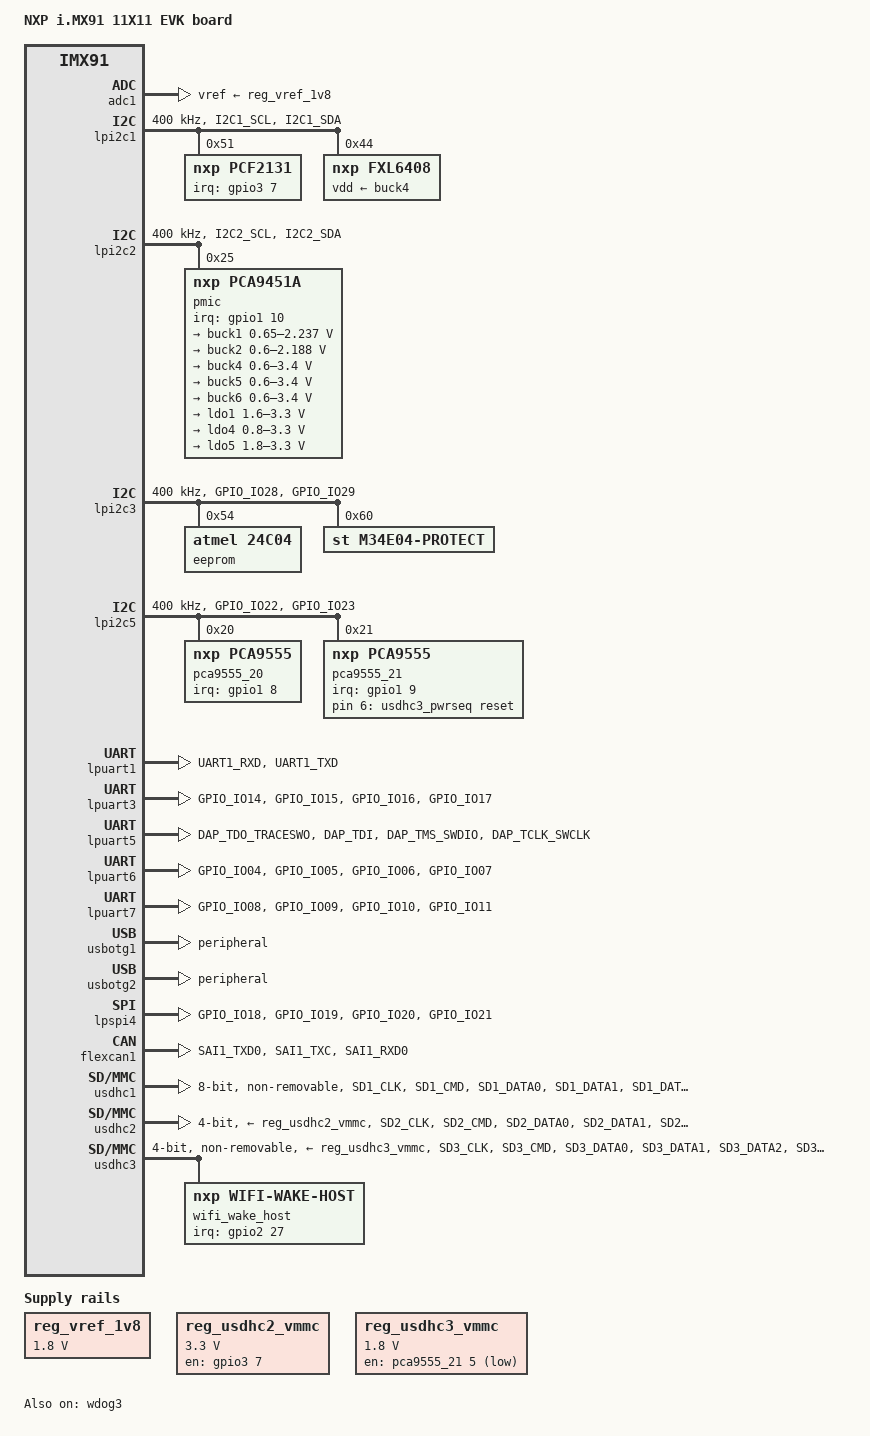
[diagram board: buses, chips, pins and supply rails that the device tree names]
// SPDX-License-Identifier: (GPL-2.0+ OR MIT)
/*
 * Device Tree for the Viridi i.MX93 Board
 *
 * @TYPE: Board Device Tree
 * @NAME: viridi-imx91
 * @SOC: NXP i.MX91
 * @DESCRIPTION:
 *   Board-specific device tree describing the hardware configuration
 *   of the Viridi i.MX91 platform. This file defines SoC integration,
 *   pin multiplexing, peripheral enablement, and board-level resources.
 *
 */

/dts-v1/;

#include <dt-bindings/usb/pd.h>
#include "imx91.dtsi"

/ {
	compatible = "fsl,imx91-11x11-evk", "fsl,imx91";
	model = "NXP i.MX91 11X11 EVK board";

	aliases {
		rtc0 = &bbnsm_rtc;
	};

	chosen {
		stdout-path = &lpuart1;
	};

	reg_vref_1v8: regulator-adc-vref {
		compatible = "regulator-fixed";
		regulator-max-microvolt = <1800000>;
		regulator-min-microvolt = <1800000>;
		regulator-name = "vref_1v8";
	};

	reg_usdhc2_vmmc: regulator-usdhc2 {
		compatible = "regulator-fixed";
		off-on-delay-us = <12000>;
		pinctrl-0 = <&pinctrl_reg_usdhc2_vmmc>;
		pinctrl-names = "default";
		regulator-max-microvolt = <3300000>;
		regulator-min-microvolt = <3300000>;
		regulator-name = "VSD_3V3";
		gpio = <&gpio3 7 GPIO_ACTIVE_HIGH>;
		enable-active-high;
	};

	reg_usdhc3_vmmc: regulator-usdhc3 {
		compatible = "regulator-fixed";
		regulator-max-microvolt = <1800000>;	
		regulator-min-microvolt = <1800000>;
		regulator-name = "WLAN_EN";
		/*gpio = <&gpio2 13 GPIO_ACTIVE_LOW>;			CPU(GPIO2_13) = WF_nPD_1V8*/
		gpio = <&pca9555_21 5 GPIO_ACTIVE_LOW>;
		regulator-boot-on;
		regulator-always-on;
		startup-delay-us = <20000>;
	};

	usdhc3_pwrseq: usdhc3_pwrseq {
		compatible = "mmc-pwrseq-simple";
		reset-gpios = <&pca9555_21 6 GPIO_ACTIVE_HIGH>;
		post-power-on-delay-ms = <200>;
	};

	reserved-memory {
		ranges;
		#address-cells = <2>;
		#size-cells = <2>;

		linux,cma {
			compatible = "shared-dma-pool";
			alloc-ranges = <0 0x80000000 0 0x40000000>;
			reusable;
			size = <0 0x10000000>;
			linux,cma-default;
		};
	};
};

&adc1 {
	vref-supply = <&reg_vref_1v8>;
	status = "okay";
};

&eqos {
	status = "disabled";
};

&fec {
	status = "disabled";
};

&lpi2c1 {
	clock-frequency = <400000>;
	pinctrl-0 = <&pinctrl_lpi2c1>;
	pinctrl-names = "default";
	status = "okay";

	/*RTC --> PCF2131TFY*/
	pcf2131: pcf2131@51 {
		compatible = "nxp,pcf2131";
		reg = <0x51>;
		status = "okay";
		interrupt-parent = <&gpio3>;
		interrupts = <7 IRQ_TYPE_EDGE_FALLING>;
	};

	/*Io Expander --> FXL6408UMX*/
	fxl6408: io-expander@44 {
		compatible = "nxp,fxl6408";
		reg = <0x44>;
		vdd-supply = <&buck4>;
		#gpio-cells = <2>;
		gpio-controller;
		ngpios = <8>;
		gpio-reserved-ranges = <5 1>;
		#pwm-cells = <3>;
		gpio-line-names = "LED1_nEN", "LED2_nEN", "LED3_nEN", "LED4_nEN",
			"CAN1_EOL", "DSP_CTRL_3V3", "NC", "NC";
	};
};

&lpi2c2 {
	#address-cells = <1>;
	#size-cells = <0>;
	clock-frequency = <400000>;
	pinctrl-0 = <&pinctrl_lpi2c2>;
	pinctrl-names = "default";
	status = "okay";

	/*PMIC --> PCA9451AHNY*/
	pmic@25 {
		compatible = "nxp,pca9451a";
		reg = <0x25>;
		pinctrl-names = "default";
		pinctrl-0 = <&pinctrl_pmic>;
		interrupt-parent = <&gpio1>;
		interrupts = <10 IRQ_TYPE_EDGE_FALLING>;
		regulators {
			buck1: BUCK1 {
				regulator-name = "BUCK1";
				regulator-min-microvolt = <650000>;
				regulator-max-microvolt = <2237500>;
				regulator-boot-on;
				regulator-always-on;
				regulator-ramp-delay = <3125>;
			};

			buck2: BUCK2 {
				regulator-name = "BUCK2";
				regulator-min-microvolt = <600000>;
				regulator-max-microvolt = <2187500>;
				regulator-boot-on;
				regulator-always-on;
				regulator-ramp-delay = <3125>;
			};

			buck4: BUCK4{
				regulator-name = "BUCK4";
				regulator-min-microvolt = <600000>;
				regulator-max-microvolt = <3400000>;
				regulator-boot-on;
				regulator-always-on;
			};

			buck5: BUCK5{
				regulator-name = "BUCK5";
				regulator-min-microvolt = <600000>;
				regulator-max-microvolt = <3400000>;
				regulator-boot-on;
				regulator-always-on;
			};

			buck6: BUCK6 {
				regulator-name = "BUCK6";
				regulator-min-microvolt = <600000>;
				regulator-max-microvolt = <3400000>;
				regulator-boot-on;
				regulator-always-on;
			};

			ldo1: LDO1 {
				regulator-name = "LDO1";
				regulator-min-microvolt = <1600000>;
				regulator-max-microvolt = <3300000>;
				regulator-boot-on;
				regulator-always-on;
			};

			ldo4: LDO4 {
				regulator-name = "LDO4";
				regulator-min-microvolt = <800000>;
				regulator-max-microvolt = <3300000>;
				regulator-boot-on;
				regulator-always-on;
			};

			ldo5: LDO5 {
				regulator-name = "LDO5";
				regulator-min-microvolt = <1800000>;
				regulator-max-microvolt = <3300000>;
				regulator-boot-on;
				regulator-always-on;
			};
		};
	};
};

&lpi2c3 {
	clock-frequency = <400000>;
	pinctrl-names = "default";
	pinctrl-0 = <&pinctrl_lpi2c3>;
	status = "okay";

	/*Eeprom --> M34E04-FMC9TG*/
	eeprom@54 {
		compatible = "atmel,24c04", "st,m34e04";
		reg = <0x54>;		//I2C Address --> 0xA8 (8 bits) = 0x54 (7 bits)
		pagesize = <16>;
		size = <512>;
	};

	m34e04-protect@60 {
		compatible = "st,m34e04-protect";
		reg = <0x60>;		// Protection --> 0x60 (7 bits)
	};
};

&lpi2c5 {
	#address-cells = <1>;
	#size-cells = <0>;
	clock-frequency = <400000>;
	pinctrl-0 = <&pinctrl_lpi2c5>;
	pinctrl-names = "default";
	status = "okay";

	/*Io Expander --> PCA9555AHF,128*/
	pca9555_20: gpio@20 {
		compatible = "nxp,pca9555";
		reg = <0x20>;
		pinctrl-names = "default";
		pinctrl-0 = <&pinctrl_pca9555_20>;
		gpio-controller;
		#gpio-cells = <2>;
		interrupt-parent = <&gpio1>;
		interrupts = <8 IRQ_TYPE_LEVEL_LOW>;
		gpio-line-names = "RS485_nRE_1V8", "RSTRAN_nSHDN_1V8","RSTRAN_CTRL_1V8", "RSTRAN_SEL_1V8",
			"RSTRAN_DUP_1V8", "CONA_EN", "CONB_EN", "NC",
			"DIGITAL_IN0", "DIGITAL_IN1","DIGITAL_IN2", "DIGITAL_IN3",
			"OUT0_EN", "OUT1_EN", "OUT2_EN", "OUT3_EN";
	};

	/*Io Expander --> PCA9555AHF,128*/
	pca9555_21: gpio@21 {
		compatible = "nxp,pca9555";
		reg = <0x21>;
		pinctrl-names = "default";
		pinctrl-0 = <&pinctrl_pca9555_21>;
		#gpio-cells = <2>;
		gpio-controller;
		interrupt-parent = <&gpio1>;
		interrupts = <9 IRQ_TYPE_LEVEL_LOW>;
		gpio-line-names = "EXP_IO1", "EXP_IO2",
			"EXP_IO3", "EXP_IO4", "EXP_PWR_EN",
			"WF_nEN_1V8", "WF_nRST_1V8", "BT_nRST_1V8",
			"GNSS_LNA_EN1", "LTE_ON_OFF_1V8",
			"NC", "NC", "NC", "NC", "NC", "NC";
	};
};

&lpuart1 {
	/* Console */
	pinctrl-names = "default";
	pinctrl-0 = <&pinctrl_uart1>;
	status = "okay";
};

&lpuart3 {
	/* LTE */
	pinctrl-0 = <&pinctrl_uart3>;
	pinctrl-names = "default";
	status = "okay";
};

&lpuart5 {
	/* BT */
	pinctrl-names = "default";
	pinctrl-0 = <&pinctrl_uart5>;
	status = "okay";
	// bluetooth {
	// 	compatible = "nxp,88w8987-bt";
	// };
};

&lpuart6 {
	/* RS232/RS485 */
	pinctrl-0 = <&pinctrl_uart6>;
	pinctrl-names = "default";
	status = "okay";
	// /*RS485*/
	// fsl,uart-has-rtscts;
	// rs485-rts-gpio = <&gpio3 5 GPIO_ACTIVE_HIGH>;
	// rs485-rts-active-high;
	// rs485-delay = <1 1>;
};

&lpuart7 {
	/* Connector */
	pinctrl-0 = <&pinctrl_uart7>;
	pinctrl-names = "default";
	status = "okay";
};

&usbotg1 {
	dr_mode = "peripheral";
	hnp-disable;
	srp-disable;
	adp-disable;
	/*usb-role-switch;		No Type-C controller used*/
	disable-over-current;	
	samsung,picophy-dc-vol-level-adjust = <7>;
	samsung,picophy-pre-emp-curr-control = <3>;
	status = "okay";
};

&usbotg2 {
	dr_mode = "peripheral";
	hnp-disable;
	srp-disable;
	adp-disable;
	/*usb-role-switch;		No Type-C controller used*/
	disable-over-current;
	samsung,picophy-pre-emp-curr-control = <3>;
	samsung,picophy-dc-vol-level-adjust = <7>;
	status = "okay";
};

&lpspi4 {
	fsl,spi-num-chipselects = <1>;
	pinctrl-names = "default", "sleep";
	pinctrl-0 = <&pinctrl_lpspi4>;
	cs-gpios = <&gpio2 18 GPIO_ACTIVE_LOW>;
	status = "okay";
	// spidev0: spi@0 {
	// 	reg = <0>;
	// 	compatible = "spidev";
	// 	spi-max-frequency = <1000000>;
	// };
};

&flexcan1 {
	pinctrl-names = "default";
	pinctrl-0 = <&pinctrl_flexcan1>;
	status = "okay";
	standby-gpios = <&gpio1 14 GPIO_ACTIVE_HIGH>;
	eol-gpios = <&gpio1 11 GPIO_ACTIVE_HIGH>;
};

&usdhc1 {
	pinctrl-names = "default", "state_100mhz", "state_200mhz";
	pinctrl-0 = <&pinctrl_usdhc1>;
	pinctrl-1 = <&pinctrl_usdhc1_100mhz>;
	pinctrl-2 = <&pinctrl_usdhc1_200mhz>;
	bus-width = <8>;
	fsl,tuning-step = <1>;
	non-removable;
	status = "okay";
};

&usdhc2 {
	pinctrl-names = "default", "state_100mhz", "state_200mhz", "sleep";
	pinctrl-0 = <&pinctrl_usdhc2>, <&pinctrl_usdhc2_gpio>;
	pinctrl-1 = <&pinctrl_usdhc2_100mhz>, <&pinctrl_usdhc2_gpio>;
	pinctrl-2 = <&pinctrl_usdhc2_200mhz>, <&pinctrl_usdhc2_gpio>;
	pinctrl-3 = <&pinctrl_usdhc2_sleep>, <&pinctrl_usdhc2_gpio_sleep>;
	cd-gpios = <&gpio3 00 GPIO_ACTIVE_LOW>;
	fsl,cd-gpio-wakeup-disable;
	vmmc-supply = <&reg_usdhc2_vmmc>;
	bus-width = <4>;
	fsl,tuning-step = <1>;
	status = "okay";
	/*no-sdio;*/
	no-mmc;
};

&usdhc3 {
	pinctrl-names = "default", "state_100mhz", "state_200mhz", "sleep";
	pinctrl-0 = <&pinctrl_usdhc3>, <&pinctrl_usdhc3_wlan>;
	pinctrl-1 = <&pinctrl_usdhc3_100mhz>, <&pinctrl_usdhc3_wlan>;
	pinctrl-2 = <&pinctrl_usdhc3_200mhz>, <&pinctrl_usdhc3_wlan>;
	pinctrl-3 = <&pinctrl_usdhc3_sleep>, <&pinctrl_usdhc3_wlan>;
	mmc-pwrseq = <&usdhc3_pwrseq>;
	vmmc-supply = <&reg_usdhc3_vmmc>;
	bus-width = <4>;
	keep-power-in-suspend;
	non-removable;
	wakeup-source;
	status = "okay";
	/*wifi-dev-wake-gpios= <&gpio2 25 GPIO_ACTIVE_HIGH>;		CPU(GPIO2_25) = WF_DEV_WAKE_1V8*/
	wifi_wake_host {
		compatible = "nxp,wifi-wake-host";
		interrupt-parent = <&gpio2>;
		interrupts = <27 IRQ_TYPE_LEVEL_LOW>;
		interrupt-names = "host-wake";
	};
};

&wdog3 {
	fsl,ext-reset-output;
	status = "okay";
};

&iomuxc {
	pinctrl_lpspi4: lpspi4grp {
		fsl,pins = <
			MX91_PAD_GPIO_IO18__LPSPI4_PCS0		0x43
			MX91_PAD_GPIO_IO19__LPSPI4_SIN		0x43
			MX91_PAD_GPIO_IO20__LPSPI4_SOUT		0x43
			MX91_PAD_GPIO_IO21__LPSPI4_SCK		0x43
		>;
	};

	pinctrl_flexcan1: flexcan1grp {
		fsl,pins = <
			MX91_PAD_SAI1_TXD0__CAN1_TX		0x139e
			MX91_PAD_SAI1_TXC__CAN1_RX		0x139e
			MX91_PAD_SAI1_RXD0__GPIO1_IO14		0x139e
			// MX91_PAD_SAI1_RXD0__GPIO1_IO14			0x139e		//CAN1_STBY
			/* CAN1_EOL moved to FXL6408 GPIO4 - no pinctrl needed */
		>;
	};

	pinctrl_lpi2c1: lpi2c1grp {
		fsl,pins = <
			MX91_PAD_I2C1_SCL__LPI2C1_SCL		0x40000b9e
			MX91_PAD_I2C1_SDA__LPI2C1_SDA		0x40000b9e
		>;
	};

	pinctrl_lpi2c2: lpi2c2grp {
		fsl,pins = <
			MX91_PAD_I2C2_SCL__LPI2C2_SCL		0x40000b9e
			MX91_PAD_I2C2_SDA__LPI2C2_SDA		0x40000b9e
		>;
	};

	pinctrl_pmic: pmic1grp {
		fsl,pins = <
			MX91_PAD_PDM_BIT_STREAM1__GPIO1_IO10	0x31e
		>;
	};

	pinctrl_lpi2c3: lpi2c3grp {
		fsl,pins = <
			MX91_PAD_GPIO_IO28__LPI2C3_SDA			0x40000b9e
			MX91_PAD_GPIO_IO29__LPI2C3_SCL			0x40000b9e
		>;
	};

	pinctrl_lpi2c5: lpi2c5grp {
		fsl,pins = <
			MX91_PAD_GPIO_IO22__LPI2C5_SDA		0x40000b9e
			MX91_PAD_GPIO_IO23__LPI2C5_SCL		0x40000b9e
		>;
	};

	pinctrl_pca9555_20: pca9555_20grp {
		fsl,pins = <
			MX91_PAD_PDM_CLK__GPIO1_IO8		0x31e
		>;
	};

	pinctrl_pca9555_21: pca9555_21grp {
		fsl,pins = <
			MX91_PAD_PDM_BIT_STREAM0__GPIO1_IO9	0x31e
		>;
	};

	pinctrl_pcal6524: pcal6524grp {
		fsl,pins = <
			MX91_PAD_CCM_CLKO2__GPIO3_IO27			0x31e
		>;
	};

	pinctrl_reg_usdhc2_vmmc: regusdhc2vmmcgrp {
		fsl,pins = <
			MX91_PAD_SD2_RESET_B__GPIO3_IO7	0x31e
		>;
	};

	pinctrl_uart1: uart1grp {
		fsl,pins = <
			MX91_PAD_UART1_RXD__LPUART1_RX		0x31e
			MX91_PAD_UART1_TXD__LPUART1_TX		0x31e
		>;
	};

	pinctrl_uart3: uart3_pins {
		fsl,pins = <
			MX91_PAD_GPIO_IO14__LPUART3_TX		0x31e
			MX91_PAD_GPIO_IO15__LPUART3_RX		0x31e
			MX91_PAD_GPIO_IO16__LPUART3_CTS_B	0x31e
			MX91_PAD_GPIO_IO17__LPUART3_RTS_B	0x31e
		>;
	};

	pinctrl_uart5: uart5grp {
		fsl,pins = <
			MX91_PAD_DAP_TDO_TRACESWO__LPUART5_TX		0x31e
			MX91_PAD_DAP_TDI__LPUART5_RX			0x31e
			MX91_PAD_DAP_TMS_SWDIO__LPUART5_RTS_B		0x31e
			MX91_PAD_DAP_TCLK_SWCLK__LPUART5_CTS_B		0x31e
		>;
	};

	pinctrl_uart6: uart6grp {
		fsl,pins = <
			MX91_PAD_GPIO_IO04__LPUART6_TX		0x31e
			MX91_PAD_GPIO_IO05__LPUART6_RX		0x31e
			MX91_PAD_GPIO_IO06__LPUART6_CTS_B	0x31e
			MX91_PAD_GPIO_IO07__LPUART6_RTS_B	0x31e
		>;
	};

	pinctrl_uart7: uart7grp {
		fsl,pins = <
			MX91_PAD_GPIO_IO08__LPUART7_TX		0x31e
			MX91_PAD_GPIO_IO09__LPUART7_RX		0x31e
			MX91_PAD_GPIO_IO10__LPUART7_CTS_B	0x31e
			MX91_PAD_GPIO_IO11__LPUART7_RTS_B	0x31e
		>;
	};

	pinctrl_usdhc1_100mhz: usdhc1-100mhzgrp {
		fsl,pins = <
			MX91_PAD_SD1_CLK__USDHC1_CLK		0x158e
			MX91_PAD_SD1_CMD__USDHC1_CMD		0x138e
			MX91_PAD_SD1_DATA0__USDHC1_DATA0	0x138e
			MX91_PAD_SD1_DATA1__USDHC1_DATA1	0x138e
			MX91_PAD_SD1_DATA2__USDHC1_DATA2	0x138e
			MX91_PAD_SD1_DATA3__USDHC1_DATA3	0x138e
			MX91_PAD_SD1_DATA4__USDHC1_DATA4	0x138e
			MX91_PAD_SD1_DATA5__USDHC1_DATA5	0x138e
			MX91_PAD_SD1_DATA6__USDHC1_DATA6	0x138e
			MX91_PAD_SD1_DATA7__USDHC1_DATA7	0x138e
			MX91_PAD_SD1_STROBE__USDHC1_STROBE	0x158e
		>;
	};

	pinctrl_usdhc1_200mhz: usdhc1-200mhzgrp {
		fsl,pins = <
			MX91_PAD_SD1_CLK__USDHC1_CLK		0x15fe
			MX91_PAD_SD1_CMD__USDHC1_CMD		0x13fe
			MX91_PAD_SD1_DATA0__USDHC1_DATA0	0x13fe
			MX91_PAD_SD1_DATA1__USDHC1_DATA1	0x13fe
			MX91_PAD_SD1_DATA2__USDHC1_DATA2	0x13fe
			MX91_PAD_SD1_DATA3__USDHC1_DATA3	0x13fe
			MX91_PAD_SD1_DATA4__USDHC1_DATA4	0x13fe
			MX91_PAD_SD1_DATA5__USDHC1_DATA5	0x13fe
			MX91_PAD_SD1_DATA6__USDHC1_DATA6	0x13fe
			MX91_PAD_SD1_DATA7__USDHC1_DATA7	0x13fe
			MX91_PAD_SD1_STROBE__USDHC1_STROBE	0x15fe
		>;
	};

	pinctrl_usdhc1: usdhc1grp {
		fsl,pins = <
			MX91_PAD_SD1_CLK__USDHC1_CLK		0x1582
			MX91_PAD_SD1_CMD__USDHC1_CMD		0x1382
			MX91_PAD_SD1_DATA0__USDHC1_DATA0	0x1382
			MX91_PAD_SD1_DATA1__USDHC1_DATA1	0x1382
			MX91_PAD_SD1_DATA2__USDHC1_DATA2	0x1382
			MX91_PAD_SD1_DATA3__USDHC1_DATA3	0x1382
			MX91_PAD_SD1_DATA4__USDHC1_DATA4	0x1382
			MX91_PAD_SD1_DATA5__USDHC1_DATA5	0x1382
			MX91_PAD_SD1_DATA6__USDHC1_DATA6	0x1382
			MX91_PAD_SD1_DATA7__USDHC1_DATA7	0x1382
			MX91_PAD_SD1_STROBE__USDHC1_STROBE	0x1582
		>;
	};

	pinctrl_usdhc2_100mhz: usdhc2-100mhzgrp {
		fsl,pins = <
			MX91_PAD_SD2_CLK__USDHC2_CLK		0x158e
			MX91_PAD_SD2_CMD__USDHC2_CMD		0x138e
			MX91_PAD_SD2_DATA0__USDHC2_DATA0	0x138e
			MX91_PAD_SD2_DATA1__USDHC2_DATA1	0x138e
			MX91_PAD_SD2_DATA2__USDHC2_DATA2	0x138e
			MX91_PAD_SD2_DATA3__USDHC2_DATA3	0x138e
			MX91_PAD_SD2_VSELECT__USDHC2_VSELECT	0x51e
		>;
	};

	pinctrl_usdhc2_200mhz: usdhc2-200mhzgrp {
		fsl,pins = <
			MX91_PAD_SD2_CLK__USDHC2_CLK		0x15fe
			MX91_PAD_SD2_CMD__USDHC2_CMD		0x13fe
			MX91_PAD_SD2_DATA0__USDHC2_DATA0	0x13fe
			MX91_PAD_SD2_DATA1__USDHC2_DATA1	0x13fe
			MX91_PAD_SD2_DATA2__USDHC2_DATA2	0x13fe
			MX91_PAD_SD2_DATA3__USDHC2_DATA3	0x13fe
			MX91_PAD_SD2_VSELECT__USDHC2_VSELECT	0x51e
		>;
	};

	pinctrl_usdhc2_gpio: usdhc2gpiogrp {
		fsl,pins = <
			MX91_PAD_SD2_CD_B__GPIO3_IO0		0x31e
		>;
	};

	pinctrl_usdhc2_gpio_sleep: usdhc2gpiosleepgrp {
		fsl,pins = <
			MX91_PAD_SD2_CD_B__GPIO3_IO0		0x51e
		>;
	};

	pinctrl_usdhc2: usdhc2grp {
		fsl,pins = <
			MX91_PAD_SD2_CLK__USDHC2_CLK		0x1582
			MX91_PAD_SD2_CMD__USDHC2_CMD		0x1382
			MX91_PAD_SD2_DATA0__USDHC2_DATA0	0x1382
			MX91_PAD_SD2_DATA1__USDHC2_DATA1	0x1382
			MX91_PAD_SD2_DATA2__USDHC2_DATA2	0x1382
			MX91_PAD_SD2_DATA3__USDHC2_DATA3	0x1382
			MX91_PAD_SD2_VSELECT__USDHC2_VSELECT	0x51e
		>;
	};

	pinctrl_usdhc2_sleep: usdhc2sleepgrp {
		fsl,pins = <
			MX91_PAD_SD2_CLK__GPIO3_IO1            0x51e
			MX91_PAD_SD2_CMD__GPIO3_IO2		0x51e
			MX91_PAD_SD2_DATA0__GPIO3_IO3		0x51e
			MX91_PAD_SD2_DATA1__GPIO3_IO4		0x51e
			MX91_PAD_SD2_DATA2__GPIO3_IO5		0x51e
			MX91_PAD_SD2_DATA3__GPIO3_IO6		0x51e
			MX91_PAD_SD2_VSELECT__GPIO3_IO19	0x51e
		>;
	};

	pinctrl_usdhc3_100mhz: usdhc3-100mhzgrp {
		fsl,pins = <
			MX91_PAD_SD3_CLK__USDHC3_CLK		0x158e
			MX91_PAD_SD3_CMD__USDHC3_CMD		0x138e
			MX91_PAD_SD3_DATA0__USDHC3_DATA0	0x138e
			MX91_PAD_SD3_DATA1__USDHC3_DATA1	0x138e
			MX91_PAD_SD3_DATA2__USDHC3_DATA2	0x138e
			MX91_PAD_SD3_DATA3__USDHC3_DATA3	0x138e
		>;
	};

	pinctrl_usdhc3_200mhz: usdhc3-200mhzgrp {
		fsl,pins = <
			MX91_PAD_SD3_CLK__USDHC3_CLK		0x15fe
			MX91_PAD_SD3_CMD__USDHC3_CMD		0x13fe
			MX91_PAD_SD3_DATA0__USDHC3_DATA0	0x13fe
			MX91_PAD_SD3_DATA1__USDHC3_DATA1	0x13fe
			MX91_PAD_SD3_DATA2__USDHC3_DATA2	0x13fe
			MX91_PAD_SD3_DATA3__USDHC3_DATA3	0x13fe
		>;
	};

	pinctrl_usdhc3: usdhc3grp {
		fsl,pins = <
			MX91_PAD_SD3_CLK__USDHC3_CLK		0x1582
			MX91_PAD_SD3_CMD__USDHC3_CMD		0x1382
			MX91_PAD_SD3_DATA0__USDHC3_DATA0	0x1382
			MX91_PAD_SD3_DATA1__USDHC3_DATA1	0x1382
			MX91_PAD_SD3_DATA2__USDHC3_DATA2	0x1382
			MX91_PAD_SD3_DATA3__USDHC3_DATA3	0x1382
		>;
	};

	pinctrl_usdhc3_sleep: usdhc3sleepgrp {
		fsl,pins = <
			MX91_PAD_SD3_CLK__GPIO3_IO20		0x31e
			MX91_PAD_SD3_CMD__GPIO3_IO21		0x31e
			MX91_PAD_SD3_DATA0__GPIO3_IO22		0x31e
			MX91_PAD_SD3_DATA1__GPIO3_IO23		0x31e
			MX91_PAD_SD3_DATA2__GPIO3_IO24		0x31e
			MX91_PAD_SD3_DATA3__GPIO3_IO25		0x31e
		>;
	};

	pinctrl_usdhc3_wlan: usdhc3wlangrp {
		fsl,pins = <
			MX91_PAD_CCM_CLKO1__GPIO3_IO26		0x31e
		>;
	};
};
